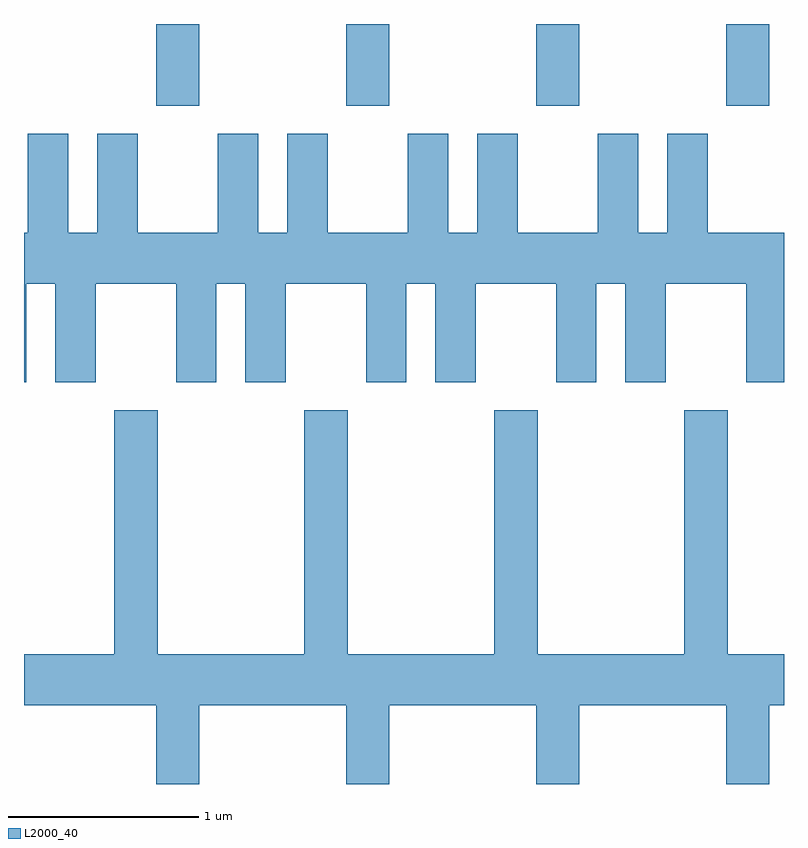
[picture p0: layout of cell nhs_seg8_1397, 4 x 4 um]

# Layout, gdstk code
import gdstk
lib = gdstk.Library(unit=1e-6, precision=1e-09)
def R(c, l, rs):  # rectangles x0, y0, x1, y1
    for r in rs: c.add(gdstk.rectangle(r[:2], r[2:], *l))
def A(c, l, x, y, w, h, nx, ny, dx, dy):  # array of equal rectangles
    R(c, l, [(x+i*dx, y+j*dy, x+i*dx+w, y+j*dy+h) for i in range(nx) for j in range(ny)])
def P(c, l, *ps):  # polygons
    for p in ps: c.add(gdstk.Polygon(p, *l))
L2000_40 = (2000, 40)

nhs_seg8_1397 = lib.new_cell('nhs_seg8_1397')
A(nhs_seg8_1397, L2000_40, 226.306, 1943.911, 0.228, 0.431, 4, 1, 1, 0)
P(nhs_seg8_1397, L2000_40, [(225.844,1943.764),(225.631,1943.764),(225.631,1943.244),(225.611,1943.244),(225.611,1942.456),(225.624,1942.456),(225.624,1942.976),(225.776,1942.976),(225.776,1942.456),(225.989,1942.456),(225.989,1942.976),(226.411,1942.976),(226.411,1942.456),(226.624,1942.456),(226.624,1942.976),(226.776,1942.976),(226.776,1942.456),(226.989,1942.456),(226.989,1942.976),(227.411,1942.976),(227.411,1942.456),(227.624,1942.456),(227.624,1942.976),(227.776,1942.976),(227.776,1942.456),(227.989,1942.456),(227.989,1942.976),(228.411,1942.976),(228.411,1942.456),(228.624,1942.456),(228.624,1942.976),(228.776,1942.976),(228.776,1942.456),(228.989,1942.456),(228.989,1942.976),(229.411,1942.976),(229.411,1942.456),(229.611,1942.456),(229.611,1943.244),(229.209,1943.244),(229.209,1943.764),(228.996,1943.764),(228.996,1943.244),(228.844,1943.244),(228.844,1943.764),(228.631,1943.764),(228.631,1943.244),(228.209,1943.244),(228.209,1943.764),(227.996,1943.764),(227.996,1943.244),(227.844,1943.244),(227.844,1943.764),(227.631,1943.764),(227.631,1943.244),(227.209,1943.244),(227.209,1943.764),(226.996,1943.764),(226.996,1943.244),(226.844,1943.244),(226.844,1943.764),(226.631,1943.764),(226.631,1943.244),(226.209,1943.244),(226.209,1943.764),(225.996,1943.764),(225.996,1943.244),(225.844,1943.244)],
  [(226.534,1940.756),(227.306,1940.756),(227.306,1940.342),(227.534,1940.342),(227.534,1940.756),(228.306,1940.756),(228.306,1940.342),(228.534,1940.342),(228.534,1940.756),(229.306,1940.756),(229.306,1940.342),(229.534,1940.342),(229.534,1940.756),(229.611,1940.756),(229.611,1941.024),(229.314,1941.024),(229.314,1942.309),(229.086,1942.309),(229.086,1941.024),(228.314,1941.024),(228.314,1942.309),(228.086,1942.309),(228.086,1941.024),(227.314,1941.024),(227.314,1942.309),(227.086,1942.309),(227.086,1941.024),(226.314,1941.024),(226.314,1942.309),(226.086,1942.309),(226.086,1941.024),(225.611,1941.024),(225.611,1940.756),(226.306,1940.756),(226.306,1940.342),(226.534,1940.342)])

lib.write_gds('nhs_seg8_1397.gds')
